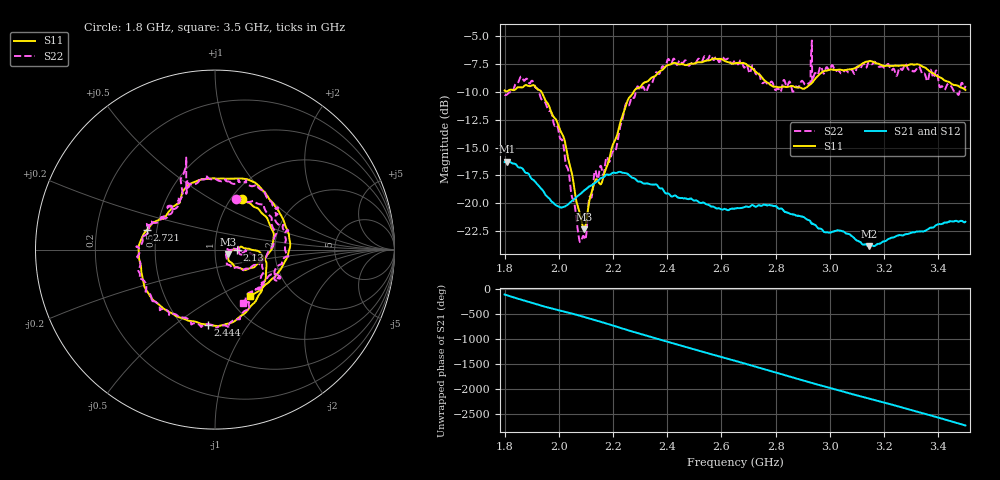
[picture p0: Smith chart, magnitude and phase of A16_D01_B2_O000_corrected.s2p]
! Created with skrf 1.9.0 (http://scikit-rf.org).
# Hz S RI R 50.0
!freq ReS11 ImS11 ReS21 ImS21 ReS12 ImS12 ReS22 ImS22
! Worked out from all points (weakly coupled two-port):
!   1601 points, 1.8 GHz to 3.5 GHz, reference 50 ohm
!   highest |S21| = -16.27 dB at 1.808 GHz (marker M1); lowest = -23.8 dB at 3.144 GHz (marker M2)
!   lowest |S11| = -22.3 dB at 2.093 GHz (marker M3), VSWR 1.17, Z = 57.8 - j2.82 ohm
!   |S11| at or under -10 dB: 1.936 GHz to 2.276 GHz (340.6 MHz wide, 16.2 % of centre)
!   |S22| runs from -23.5 to -5.4 dB; largest |S21 - S12| = 0.003
!   S11 on the Smith chart (normalised r, x): 1.8 GHz: 1.12, +0.71; 2.13 GHz: 1.28, -0.00; 2.444 GHz: 0.65, -0.66; 2.721 GHz: 0.44, +0.12; 3.5 GHz: 1.26, -0.72
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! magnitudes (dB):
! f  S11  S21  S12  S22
! 1.8 GHz  -9.9  -16.3  -16.3  -10.3
! 1.808 GHz  -10.0  -16.3  -16.3  -10.2
! 1.901 GHz  -9.4  -17.8  -17.8  -9.0
! 1.969 GHz  -11.6  -19.7  -19.7  -11.7
! 2.02 GHz  -14.2  -20.3  -20.3  -15.4
! 2.084 GHz  -21.6  -19.1  -19.0  -23.3
! 2.093 GHz  -22.3  -18.9  -18.9  -23.0
! 2.13 GHz  -18.2  -18.2  -18.2  -17.4
! 2.159 GHz  -18.1  -17.7  -17.7  -17.0
! 2.208 GHz  -14.3  -17.3  -17.2  -15.3
! 2.259 GHz  -10.5  -17.5  -17.5  -11.2
! 2.367 GHz  -8.3  -18.5  -18.5  -8.4
! 2.444 GHz  -7.5  -19.5  -19.5  -7.2
! 2.65 GHz  -7.5  -20.5  -20.4  -7.2
! 2.721 GHz  -8.1  -20.2  -20.2  -8.0
! 2.813 GHz  -9.6  -20.5  -20.4  -9.8
! 2.92 GHz  -9.5  -21.5  -21.5  -9.3
! 2.934 GHz  -9.2  -21.8  -21.8  -5.4
! 3.144 GHz  -7.3  -23.8  -23.8  -7.3
! 3.217 GHz  -7.7  -23.2  -23.2  -7.6
! 3.328 GHz  -7.6  -22.5  -22.5  -7.7
! 3.5 GHz  -9.8  -21.7  -21.7  -9.5
